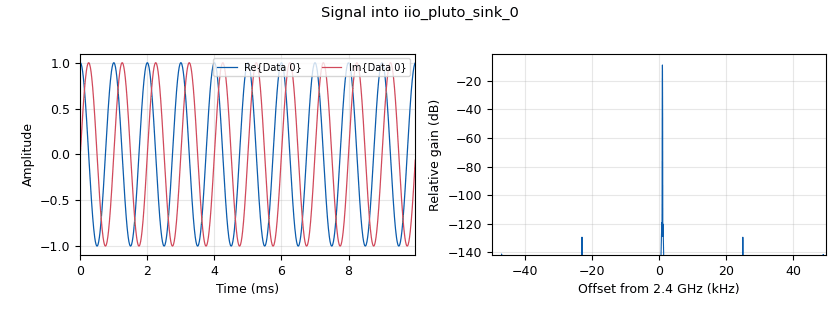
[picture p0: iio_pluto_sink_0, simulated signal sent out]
options:
  parameters:
    generate_options: qt_gui
    id: untitled
    output_language: python
    title: Not titled yet
  states: {}

blocks:
- name: samp_rate
  id: variable
  parameters:
    value: '100000'
  states: {}
- name: analog_sig_source_x_0
  id: analog_sig_source_x
  parameters:
    amp: '1'
    freq: '1000'
    offset: '0'
    phase: '0'
    samp_rate: samp_rate
    type: complex
    waveform: analog.GR_COS_WAVE
  states: {}
- name: blocks_complex_to_real_0
  id: blocks_complex_to_real
  parameters: {}
  states: {}
- name: iio_pluto_sink_0
  id: iio_pluto_sink
  parameters:
    attenuation1: '10.0'
    bandwidth: '20000000'
    buffer_size: '32768'
    cyclic: 'False'
    filter_source: '''Auto'''
    frequency: '2400000000'
    samplerate: samp_rate
    type: fc32
    uri: ip:192.168.2.1
  states: {}
- name: iio_pluto_source_0
  id: iio_pluto_source
  parameters:
    bandwidth: '20000000'
    bbdc: 'True'
    buffer_size: '32768'
    filter_source: '''Auto'''
    frequency: '2399990000'
    gain1: '''manual'''
    manual_gain1: '30'
    quadrature: 'True'
    rfdc: 'False'
    samplerate: samp_rate
    type: fc32
    uri: ip:192.168.2.1
  states: {}
- name: zeromq_push_sink_0
  id: zeromq_push_sink
  parameters:
    address: tcp://127.0.0.1:5555
    bind: 'False'
    timeout: '100'
    type: float
  states: {}

connections:
- [analog_sig_source_x_0, '0', iio_pluto_sink_0, '0']
- [blocks_complex_to_real_0, '0', zeromq_push_sink_0, '0']
- [iio_pluto_source_0, '0', blocks_complex_to_real_0, '0']

metadata:
  file_format: 1
  grc_version: 3.10.12.0
